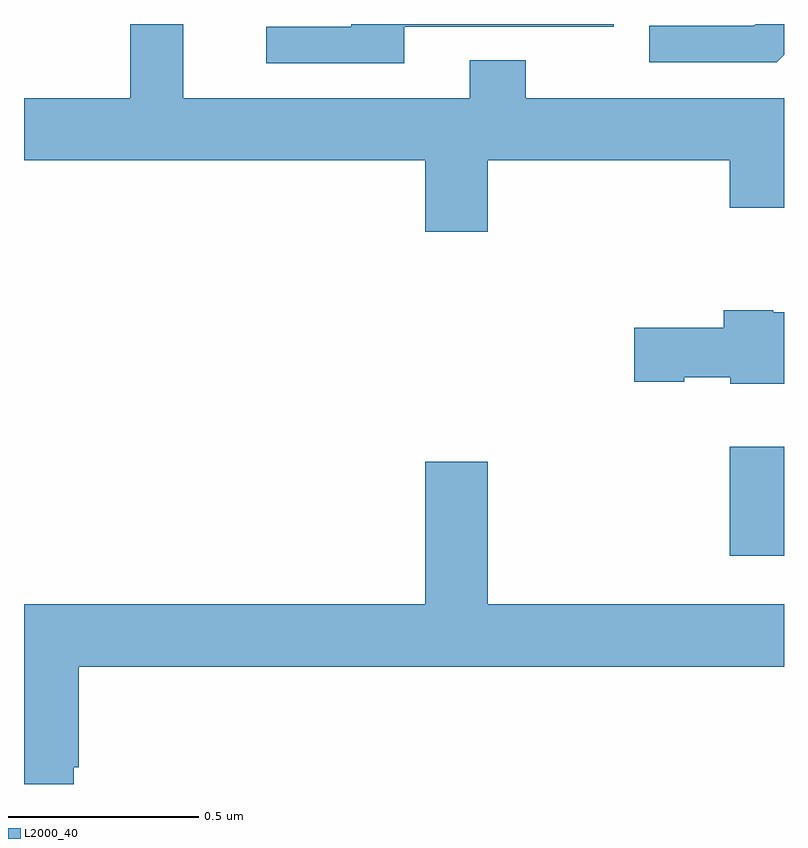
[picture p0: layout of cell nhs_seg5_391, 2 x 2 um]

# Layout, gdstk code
import gdstk
lib = gdstk.Library(unit=1e-6, precision=1e-09)
def R(c, l, rs):  # rectangles x0, y0, x1, y1
    for r in rs: c.add(gdstk.rectangle(r[:2], r[2:], *l))
def P(c, l, *ps):  # polygons
    for p in ps: c.add(gdstk.Polygon(p, *l))
L2000_40 = (2000, 40)

nhs_seg5_391 = lib.new_cell('nhs_seg5_391')
R(nhs_seg5_391, L2000_40, [(117.857,842.4,118,842.686)])
P(nhs_seg5_391, L2000_40, [(117.22,843.44),(117.857,843.44),(117.857,843.316),(118,843.316),(118,843.604),(117.321,843.604),(117.321,843.703),(117.173,843.703),(117.173,843.604),(116.419,843.604),(116.419,843.799),(116.279,843.799),(116.279,843.604),(116,843.604),(116,843.44),(117.056,843.44),(117.056,843.252),(117.22,843.252)],
  [(118,843.718),(118,843.799),(117.925,843.799),(117.921,843.795),(117.645,843.795),(117.645,843.699),(117.981,843.699)],
  [(117.001,843.792),(117.552,843.792),(117.552,843.799),(116.861,843.799),(116.861,843.792),(116.637,843.792),(116.637,843.696),(117.001,843.696)],
  [(118,843.04),(117.972,843.04),(117.972,843.046),(117.842,843.046),(117.842,843),(117.606,843),(117.606,842.858),(117.738,842.858),(117.738,842.87),(117.858,842.87),(117.858,842.852),(118,842.852)],
  [(116.131,841.843),(116.144,841.843),(116.144,842.108),(118,842.108),(118,842.272),(117.22,842.272),(117.22,842.647),(117.056,842.647),(117.056,842.272),(116,842.272),(116,841.799),(116.131,841.799)])

lib.write_gds('nhs_seg5_391.gds')
